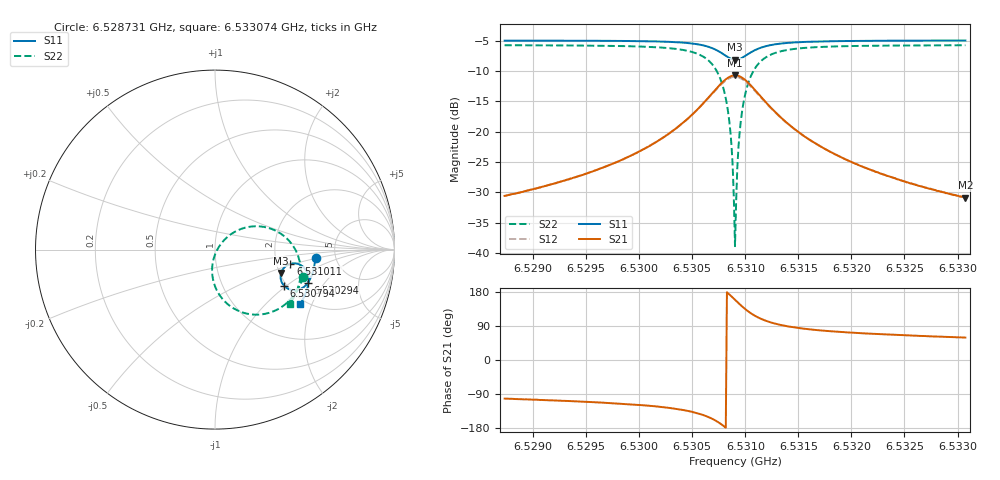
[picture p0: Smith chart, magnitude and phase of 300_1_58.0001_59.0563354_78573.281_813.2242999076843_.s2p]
#  HZ  S  RI  R  50.00
! Rohde & Schwarz Vector Network Analyzer
! Rohde-Schwarz,ZNB20-2Port,1311601062101988,3.16
! Created: UTC 3/21/2024, 1:03:44 AM
! freq[Hz]  re:S11  im:S11  re:S21  im:S21  re:S12  im:S12  re:S22  im:S22
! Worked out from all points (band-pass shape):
!   401 points, 6.528731 GHz to 6.533074 GHz, reference 50 ohm
!   highest |S21| = -10.72 dB at 6.530902 GHz (marker M1); lowest = -30.9 dB at 6.533074 GHz (marker M2)
!   |S21| within 3 dB of the highest: 6.530686 GHz to 6.531121 GHz (434.7 kHz wide, 0.00666 % of centre)
!   lowest |S11| = -8.2 dB at 6.530902 GHz (marker M3), VSWR 2.28, Z = 102 - j31.4 ohm
!   |S11| at or under -10 dB: nowhere
!   |S22| runs from -38.8 to -5.8 dB; largest |S21 - S12| = 0.011
!   S11 on the Smith chart (normalised r, x): 6.528731 GHz: 3.50, -0.45; 6.530294 GHz: 2.59, -1.39; 6.530794 GHz: 1.94, -0.96; 6.531011 GHz: 2.39, -0.46; 6.533074 GHz: 1.85, -1.65
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6.5287309e9  0.56 -0.0442  -0.0061 -0.029  -0.00667 -0.0289  0.4923 -0.1515
6.5294584e9  0.5512 -0.1041  -0.0149 -0.0413  -0.0159 -0.0411  0.4634 -0.2175
6.5301859e9  0.5244 -0.1749  -0.0468 -0.0712  -0.0486 -0.0699  0.3863 -0.3088
6.5302945e9  0.5156 -0.1877  -0.059 -0.0789  -0.0613 -0.0773  0.36 -0.3266
6.530631e9  0.4533 -0.226  -0.1546 -0.0962  -0.1569 -0.0901  0.1793 -0.3572
6.5307288e9  0.4139 -0.2214  -0.2154 -0.0723  -0.2151 -0.0637  0.0764 -0.3085
6.5307939e9  0.3846 -0.2013  -0.2588 -0.0277  -0.2545 -0.0183  0.00979 -0.2263
6.5308482e9  0.3679 -0.1698  -0.2804 0.0329  -0.2724 0.0407  -0.0163 -0.122
6.5308699e9  0.3653 -0.1545  -0.2813 0.0615  -0.2722 0.0676  -0.0129 -0.075
6.5308808e9  0.3656 -0.1463  -0.2796 0.076  -0.2701 0.0815  -0.00773 -0.0514
6.5308916e9  0.3665 -0.1384  -0.2764 0.0906  -0.2666 0.095  -7.44e-05 -0.0281
6.5309025e9  0.3683 -0.1305  -0.2718 0.1046  -0.2619 0.1083  0.00978 -0.00591
6.5309133e9  0.371 -0.1228  -0.2659 0.1181  -0.2559 0.1209  0.0218 0.0154
6.5309242e9  0.3745 -0.1155  -0.2587 0.1312  -0.2486 0.133  0.0358 0.0353
6.5309351e9  0.3787 -0.1086  -0.2502 0.1432  -0.2405 0.1443  0.0515 0.0536
6.5309568e9  0.3889 -0.0968  -0.2305 0.1639  -0.2215 0.1636  0.0871 0.0845
6.5310111e9  0.4202 -0.0792  -0.1736 0.1951  -0.167 0.1925  0.1861 0.1262
6.5310871e9  0.4609 -0.0794  -0.1018 0.1978  -0.0986 0.1952  0.3066 0.1179
6.5311956e9  0.4965 -0.101  -0.0401 0.1693  -0.0384 0.1676  0.407 0.055
6.53163e9  0.5212 -0.1794  0.0141 0.0821  0.0151 0.0818  0.4778 -0.1289
6.5323574e9  0.5018 -0.2518  0.0167 0.0395  0.0174 0.0391  0.4501 -0.2434
6.533074e9  0.4746 -0.3047  0.0147 0.0245  0.0152 0.0243  0.4151 -0.3047
